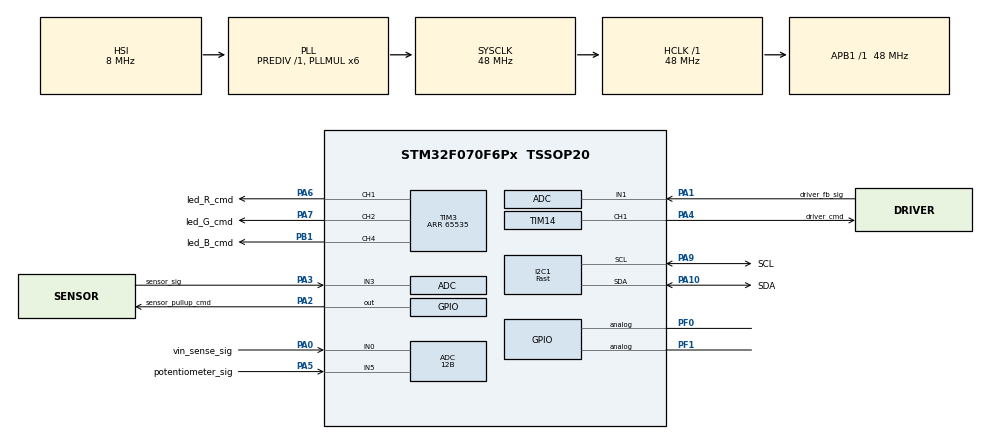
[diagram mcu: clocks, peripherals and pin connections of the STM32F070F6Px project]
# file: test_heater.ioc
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ADC.ClockPrescaler=ADC_CLOCK_ASYNC_DIV1
ADC.ContinuousConvMode=DISABLE
ADC.DMAContinuousRequests=DISABLE
ADC.DataAlign=ADC_DATAALIGN_RIGHT
ADC.DiscontinuousConvMode=DISABLE
ADC.EOCSelection=ADC_EOC_SEQ_CONV
ADC.EnableAnalogWatchDog=false
ADC.ExternalTrigConvEdge=ADC_EXTERNALTRIGCONVEDGE_NONE
ADC.LowPowerAutoPowerOff=DISABLE
ADC.LowPowerAutoWait=DISABLE
ADC.Overrun=ADC_OVR_DATA_OVERWRITTEN
ADC.Resolution=ADC_RESOLUTION_12B
ADC.SamplingTime=ADC_SAMPLETIME_7CYCLES_5
ADC.ScanConvMode=ADC_SCAN_DIRECTION_FORWARD
Dma.ADC.0.Direction=DMA_PERIPH_TO_MEMORY
Dma.ADC.0.Instance=DMA1_Channel1
Dma.ADC.0.MemDataAlignment=DMA_MDATAALIGN_HALFWORD
Dma.ADC.0.MemInc=DMA_MINC_ENABLE
Dma.ADC.0.Mode=DMA_NORMAL
Dma.ADC.0.PeriphDataAlignment=DMA_PDATAALIGN_HALFWORD
Dma.ADC.0.PeriphInc=DMA_PINC_DISABLE
Dma.ADC.0.Priority=DMA_PRIORITY_LOW
Dma.Request0=ADC
I2C1.I2C_Speed_Mode=I2C_Fast
I2C1.Speed=200
I2C1.Timing=0x00000A17
Mcu.Family=STM32F0
Mcu.Name=STM32F070F6Px
Mcu.Package=TSSOP20
NVIC.DMA1_Channel1_IRQn=true\:0\:0\:false\:false\:true
NVIC.TIM14_IRQn=true\:0\:0\:false\:false\:true
NVIC.TIM1_BRK_UP_TRG_COM_IRQn=true\:0\:0\:false\:false\:true
PA0.GPIO_Label=vin_sense_sig
PA0.Mode=IN0
PA0.Signal=ADC_IN0
PA1.GPIO_Label=driver_fb_sig
PA1.Mode=IN1
PA1.Signal=ADC_IN1
PA10.GPIO_Label=SDA
PA10.Mode=I2C
PA10.Signal=I2C1_SDA
PA13.Mode=Serial-WireDebug
PA13.Signal=SYS_SWDIO
PA14.Mode=Serial-WireDebug
PA14.Signal=SYS_SWCLK
PA2.GPIO_Label=sensor_pullup_cmd
PA2.Signal=GPIO_Output
PA3.GPIO_Label=sensor_sig
PA3.Mode=IN3
PA3.Signal=ADC_IN3
PA4.GPIO_Label=driver_cmd
PA4.Signal=S_TIM14_CH1
PA5.GPIO_Label=potentiometer_sig
PA5.Mode=IN5
PA5.Signal=ADC_IN5
PA6.GPIO_Label=led_R_cmd
PA6.GPIO_Speed=GPIO_SPEED_FREQ_LOW
PA6.Signal=S_TIM3_CH1
PA7.GPIO_Label=led_G_cmd
PA7.GPIO_Speed=GPIO_SPEED_FREQ_LOW
PA7.Signal=S_TIM3_CH2
PA9.GPIO_Label=SCL
PA9.Mode=I2C
PA9.Signal=I2C1_SCL
PB1.GPIO_Label=led_B_cmd
PB1.Signal=S_TIM3_CH4
PF0-OSC_IN.Signal=GPIO_Analog
PF1-OSC_OUT.Signal=GPIO_Analog
ProjectManager.HeapSize=0x200
ProjectManager.StackSize=0x400
ProjectManager.TargetToolchain=SW4STM32
RCC.AHBFreq_Value=48000000
RCC.APB1Freq_Value=48000000
RCC.APB1TimFreq_Value=48000000
RCC.HCLKFreq_Value=48000000
RCC.PLLMUL=RCC_PLL_MUL6
RCC.SYSCLKFreq_VALUE=48000000
RCC.SYSCLKSource=RCC_SYSCLKSOURCE_PLLCLK
SH.S_TIM14_CH1.0=TIM14_CH1,PWM Generation1 CH1
SH.S_TIM3_CH1.0=TIM3_CH1,PWM Generation1 CH1
SH.S_TIM3_CH2.0=TIM3_CH2,PWM Generation2 CH2
SH.S_TIM3_CH4.0=TIM3_CH4,PWM Generation4 CH4
TIM1.Period=9
TIM1.Prescaler=4799
TIM14.Period=9999
TIM14.Prescaler=47
TIM3.Channel-PWM\ Generation2\ CH2=TIM_CHANNEL_2
TIM3.Channel-PWM\ Generation4\ CH4=TIM_CHANNEL_4
TIM3.OCMode_PWM-PWM\ Generation1\ CH1=TIM_OCMODE_PWM2
TIM3.OCMode_PWM-PWM\ Generation2\ CH2=TIM_OCMODE_PWM2
TIM3.OCMode_PWM-PWM\ Generation4\ CH4=TIM_OCMODE_PWM2
TIM3.Period=65535
VP_TIM14_VS_ClockSourceINT.Mode=Enable_Timer
VP_TIM1_VS_OPM.Mode=OPM_bit
board=test_heater

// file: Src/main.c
/**
 ******************************************************************************
 * File Name          : main.c
 * Description        : Main program body
 ******************************************************************************
 *
 * COPYRIGHT(c) 2016 STMicroelectronics
 *
 * Redistribution and use in source and binary forms, with or without modification,
 * are permitted provided that the following conditions are met:
 *   1. Redistributions of source code must retain the above copyright notice,
 *      this list of conditions and the following disclaimer.
 *   2. Redistributions in binary form must reproduce the above copyright notice,
 *      this list of conditions and the following disclaimer in the documentation
 *      and/or other materials provided with the distribution.
 *   3. Neither the name of STMicroelectronics nor the names of its contributors
 *      may be used to endorse or promote products derived from this software
 *      without specific prior written permission.
 *
 * THIS SOFTWARE IS PROVIDED BY THE COPYRIGHT HOLDERS AND CONTRIBUTORS "AS IS"
 * AND ANY EXPRESS OR IMPLIED WARRANTIES, INCLUDING, BUT NOT LIMITED TO, THE
 * IMPLIED WARRANTIES OF MERCHANTABILITY AND FITNESS FOR A PARTICULAR PURPOSE ARE
 * DISCLAIMED. IN NO EVENT SHALL THE COPYRIGHT HOLDER OR CONTRIBUTORS BE LIABLE
 * FOR ANY DIRECT, INDIRECT, INCIDENTAL, SPECIAL, EXEMPLARY, OR CONSEQUENTIAL
 * DAMAGES (INCLUDING, BUT NOT LIMITED TO, PROCUREMENT OF SUBSTITUTE GOODS OR
 * SERVICES; LOSS OF USE, DATA, OR PROFITS; OR BUSINESS INTERRUPTION) HOWEVER
 * CAUSED AND ON ANY THEORY OF LIABILITY, WHETHER IN CONTRACT, STRICT LIABILITY,
 * OR TORT (INCLUDING NEGLIGENCE OR OTHERWISE) ARISING IN ANY WAY OUT OF THE USE
 * OF THIS SOFTWARE, EVEN IF ADVISED OF THE POSSIBILITY OF SUCH DAMAGE.
 *
 ******************************************************************************
 */
#include "stm32f0xx_hal.h"

/* USER CODE BEGIN Includes */
#include "diagnostics.h"
/* USER CODE END Includes */

ADC_HandleTypeDef hadc;
DMA_HandleTypeDef hdma_adc;

I2C_HandleTypeDef hi2c1;

TIM_HandleTypeDef htim1;
TIM_HandleTypeDef htim3;
TIM_HandleTypeDef htim14;

/* USER CODE BEGIN PV */
/* Private variables ---------------------------------------------------------*/

/* USER CODE END PV */

void SystemClock_Config(void);
static void MX_GPIO_Init(void);
static void MX_DMA_Init(void);
static void MX_ADC_Init(void);
static void MX_I2C1_Init(void);
static void MX_TIM3_Init(void);
static void MX_TIM14_Init(void);
static void MX_TIM1_Init(void);

void HAL_TIM_MspPostInit(TIM_HandleTypeDef *htim);

/* USER CODE BEGIN PFP */
/* Private function prototypes -----------------------------------------------*/

/* USER CODE END PFP */

int main(void) {

	/* USER CODE BEGIN 1 */
	/// Buffer for heater open diagnostics.
	bool heater_open_diagnostics_buffer[256];
	/// Data structure for sensor open diagnostics.
	diagnostics_n_from_m_data_t heater_open_diagnostics = { .n = 2, .m = 5, .head = 0, .sum = 0, .buffer =
			heater_open_diagnostics_buffer };
	bool heater_open = false;
	bool dummy[] = { 0, 0, 0, 0, 0, 1, 0, 0, 0, 0, 0, 1, 1, 0, 0, 0, 0, 0, 1, 0, 0, 1, 0, 0, 0, 0, 0, 1, 1, 1, 1, 1, 1,
			1, 0, 0, 0, 0, 0, 0, 0, 0, 0, 0, 0 };
	uint32_t i;
	GPIO_InitTypeDef GPIO_InitStruct;
	/* USER CODE END 1 */

	/* MCU Configuration----------------------------------------------------------*/

	/* Reset of all peripherals, Initializes the Flash interface and the Systick. */
	HAL_Init();

	/* Configure the system clock */
	SystemClock_Config();

	/* Initialize all configured peripherals */
	MX_GPIO_Init();
	MX_DMA_Init();
	MX_ADC_Init();
	MX_I2C1_Init();
	MX_TIM3_Init();
	MX_TIM14_Init();
	MX_TIM1_Init();

	/* USER CODE BEGIN 2 */
	for (i = 0; i < sizeof(dummy); i++) {
		heater_open = diagnostics_n_from_m(dummy[i], &heater_open_diagnostics);
	}
	/*Configure GPIO pin : sensor_pullup_cmd_Pin */
	GPIO_InitStruct.Pin = driver_cmd_Pin;
	GPIO_InitStruct.Mode = GPIO_MODE_OUTPUT_PP;
	GPIO_InitStruct.Pull = GPIO_NOPULL;
	GPIO_InitStruct.Speed = GPIO_SPEED_FREQ_LOW;
	HAL_GPIO_Init(driver_cmd_GPIO_Port, &GPIO_InitStruct);

	/*Configure GPIO pin Output Level */
	HAL_GPIO_WritePin(driver_cmd_GPIO_Port, driver_cmd_Pin, GPIO_PIN_RESET);

	/* USER CODE END 2 */

	/* Infinite loop */
	while (1) {
		HAL_GPIO_TogglePin(driver_cmd_GPIO_Port, driver_cmd_Pin);
		HAL_Delay(1);

	}

}

/** System Clock Configuration
 */
void SystemClock_Config(void) {

	RCC_OscInitTypeDef RCC_OscInitStruct;
	RCC_ClkInitTypeDef RCC_ClkInitStruct;
	RCC_PeriphCLKInitTypeDef PeriphClkInit;

	RCC_OscInitStruct.OscillatorType = RCC_OSCILLATORTYPE_HSI | RCC_OSCILLATORTYPE_HSI14;
	RCC_OscInitStruct.HSIState = RCC_HSI_ON;
	RCC_OscInitStruct.HSI14State = RCC_HSI14_ON;
	RCC_OscInitStruct.HSICalibrationValue = 16;
	RCC_OscInitStruct.HSI14CalibrationValue = 16;
	RCC_OscInitStruct.PLL.PLLState = RCC_PLL_ON;
	RCC_OscInitStruct.PLL.PLLSource = RCC_PLLSOURCE_HSI;
	RCC_OscInitStruct.PLL.PLLMUL = RCC_PLL_MUL6;
	RCC_OscInitStruct.PLL.PREDIV = RCC_PREDIV_DIV1;
	HAL_RCC_OscConfig(&RCC_OscInitStruct);

	RCC_ClkInitStruct.ClockType = RCC_CLOCKTYPE_HCLK | RCC_CLOCKTYPE_SYSCLK | RCC_CLOCKTYPE_PCLK1;
	RCC_ClkInitStruct.SYSCLKSource = RCC_SYSCLKSOURCE_PLLCLK;
	RCC_ClkInitStruct.AHBCLKDivider = RCC_SYSCLK_DIV1;
	RCC_ClkInitStruct.APB1CLKDivider = RCC_HCLK_DIV1;
	HAL_RCC_ClockConfig(&RCC_ClkInitStruct, FLASH_LATENCY_1);

	PeriphClkInit.PeriphClockSelection = RCC_PERIPHCLK_I2C1;
	PeriphClkInit.I2c1ClockSelection = RCC_I2C1CLKSOURCE_HSI;
	HAL_RCCEx_PeriphCLKConfig(&PeriphClkInit);

	HAL_SYSTICK_Config(HAL_RCC_GetHCLKFreq() / 1000);

	HAL_SYSTICK_CLKSourceConfig(SYSTICK_CLKSOURCE_HCLK);

	/* SysTick_IRQn interrupt configuration */
	HAL_NVIC_SetPriority(SysTick_IRQn, 0, 0);
}

/* ADC init function */
void MX_ADC_Init(void) {

	ADC_ChannelConfTypeDef sConfig;

	/**Configure the global features of the ADC (Clock, Resolution, Data Alignment and number of conversion)
	 */
	hadc.Instance = ADC1;
	hadc.Init.ClockPrescaler = ADC_CLOCK_ASYNC_DIV1;
	hadc.Init.Resolution = ADC_RESOLUTION_12B;
	hadc.Init.DataAlign = ADC_DATAALIGN_RIGHT;
	hadc.Init.ScanConvMode = ADC_SCAN_DIRECTION_FORWARD;
	hadc.Init.EOCSelection = ADC_EOC_SEQ_CONV;
	hadc.Init.LowPowerAutoWait = DISABLE;
	hadc.Init.LowPowerAutoPowerOff = DISABLE;
	hadc.Init.ContinuousConvMode = DISABLE;
	hadc.Init.DiscontinuousConvMode = DISABLE;
	hadc.Init.ExternalTrigConvEdge = ADC_EXTERNALTRIGCONVEDGE_NONE;
	hadc.Init.DMAContinuousRequests = DISABLE;
	hadc.Init.Overrun = ADC_OVR_DATA_OVERWRITTEN;
	HAL_ADC_Init(&hadc);

	/**Configure for the selected ADC regular channel to be converted.
	 */
	sConfig.Channel = ADC_CHANNEL_0;
	sConfig.Rank = ADC_RANK_CHANNEL_NUMBER;
	sConfig.SamplingTime = ADC_SAMPLETIME_7CYCLES_5;
	HAL_ADC_ConfigChannel(&hadc, &sConfig);

	/**Configure for the selected ADC regular channel to be converted.
	 */
	sConfig.Channel = ADC_CHANNEL_1;
	HAL_ADC_ConfigChannel(&hadc, &sConfig);

	/**Configure for the selected ADC regular channel to be converted.
	 */
	sConfig.Channel = ADC_CHANNEL_3;
	HAL_ADC_ConfigChannel(&hadc, &sConfig);

	/**Configure for the selected ADC regular channel to be converted.
	 */
	sConfig.Channel = ADC_CHANNEL_5;
	HAL_ADC_ConfigChannel(&hadc, &sConfig);

}

/* I2C1 init function */
void MX_I2C1_Init(void) {

	hi2c1.Instance = I2C1;
	hi2c1.Init.Timing = 0x00000A17;
	hi2c1.Init.OwnAddress1 = 0;
	hi2c1.Init.AddressingMode = I2C_ADDRESSINGMODE_7BIT;
	hi2c1.Init.DualAddressMode = I2C_DUALADDRESS_DISABLE;
	hi2c1.Init.OwnAddress2 = 0;
	hi2c1.Init.OwnAddress2Masks = I2C_OA2_NOMASK;
	hi2c1.Init.GeneralCallMode = I2C_GENERALCALL_DISABLE;
	hi2c1.Init.NoStretchMode = I2C_NOSTRETCH_DISABLE;
	HAL_I2C_Init(&hi2c1);

	/**Configure Analogue filter
	 */
	HAL_I2CEx_ConfigAnalogFilter(&hi2c1, I2C_ANALOGFILTER_ENABLE);

}

/* TIM1 init function */
void MX_TIM1_Init(void) {

	htim1.Instance = TIM1;
	htim1.Init.Prescaler = 4799;
	htim1.Init.CounterMode = TIM_COUNTERMODE_UP;
	htim1.Init.Period = 9;
	htim1.Init.ClockDivision = TIM_CLOCKDIVISION_DIV1;
	htim1.Init.RepetitionCounter = 0;
	HAL_TIM_OnePulse_Init(&htim1, TIM_OPMODE_SINGLE);

}

/* TIM3 init function */
void MX_TIM3_Init(void) {

	TIM_MasterConfigTypeDef sMasterConfig;
	TIM_OC_InitTypeDef sConfigOC;

	htim3.Instance = TIM3;
	htim3.Init.Prescaler = 0;
	htim3.Init.CounterMode = TIM_COUNTERMODE_UP;
	htim3.Init.Period = 65535;
	htim3.Init.ClockDivision = TIM_CLOCKDIVISION_DIV1;
	HAL_TIM_PWM_Init(&htim3);

	sMasterConfig.MasterOutputTrigger = TIM_TRGO_RESET;
	sMasterConfig.MasterSlaveMode = TIM_MASTERSLAVEMODE_DISABLE;
	HAL_TIMEx_MasterConfigSynchronization(&htim3, &sMasterConfig);

	sConfigOC.OCMode = TIM_OCMODE_PWM2;
	sConfigOC.Pulse = 0;
	sConfigOC.OCPolarity = TIM_OCPOLARITY_HIGH;
	sConfigOC.OCFastMode = TIM_OCFAST_DISABLE;
	HAL_TIM_PWM_ConfigChannel(&htim3, &sConfigOC, TIM_CHANNEL_1);

	HAL_TIM_PWM_ConfigChannel(&htim3, &sConfigOC, TIM_CHANNEL_2);

	HAL_TIM_PWM_ConfigChannel(&htim3, &sConfigOC, TIM_CHANNEL_4);

	HAL_TIM_MspPostInit(&htim3);

}

/* TIM14 init function */
void MX_TIM14_Init(void) {

	TIM_OC_InitTypeDef sConfigOC;

	htim14.Instance = TIM14;
	htim14.Init.Prescaler = 47;
	htim14.Init.CounterMode = TIM_COUNTERMODE_UP;
	htim14.Init.Period = 9999;
	htim14.Init.ClockDivision = TIM_CLOCKDIVISION_DIV1;
	HAL_TIM_Base_Init(&htim14);

	HAL_TIM_PWM_Init(&htim14);

	sConfigOC.OCMode = TIM_OCMODE_PWM1;
	sConfigOC.Pulse = 0;
	sConfigOC.OCPolarity = TIM_OCPOLARITY_HIGH;
	sConfigOC.OCFastMode = TIM_OCFAST_DISABLE;
	HAL_TIM_PWM_ConfigChannel(&htim14, &sConfigOC, TIM_CHANNEL_1);

	HAL_TIM_MspPostInit(&htim14);

}

void MX_DMA_Init(void) {
	/* DMA controller clock enable */
	__HAL_RCC_DMA1_CLK_ENABLE()
	;

	/* DMA interrupt init */
	/* DMA1_Channel1_IRQn interrupt configuration */
	HAL_NVIC_SetPriority(DMA1_Channel1_IRQn, 0, 0);
	HAL_NVIC_EnableIRQ(DMA1_Channel1_IRQn);

}

/** Configure pins as
 * Analog
 * Input
 * Output
 * EVENT_OUT
 * EXTI
 * Free pins are configured automatically as Analog (this feature is enabled through
 * the Code Generation settings)
 */
void MX_GPIO_Init(void) {

	GPIO_InitTypeDef GPIO_InitStruct;

	/* GPIO Ports Clock Enable */
	__HAL_RCC_GPIOF_CLK_ENABLE()
	;
	__HAL_RCC_GPIOA_CLK_ENABLE()
	;
	__HAL_RCC_GPIOB_CLK_ENABLE()
	;

	/*Configure GPIO pins : PF0 PF1 */
	GPIO_InitStruct.Pin = GPIO_PIN_0 | GPIO_PIN_1;
	GPIO_InitStruct.Mode = GPIO_MODE_ANALOG;
	GPIO_InitStruct.Pull = GPIO_NOPULL;
	HAL_GPIO_Init(GPIOF, &GPIO_InitStruct);

	/*Configure GPIO pin : sensor_pullup_cmd_Pin */
	GPIO_InitStruct.Pin = sensor_pullup_cmd_Pin;
	GPIO_InitStruct.Mode = GPIO_MODE_ANALOG;
	GPIO_InitStruct.Pull = GPIO_NOPULL;
	HAL_GPIO_Init(sensor_pullup_cmd_GPIO_Port, &GPIO_InitStruct);

}

/************************ (C) COPYRIGHT STMicroelectronics *****END OF FILE****/
